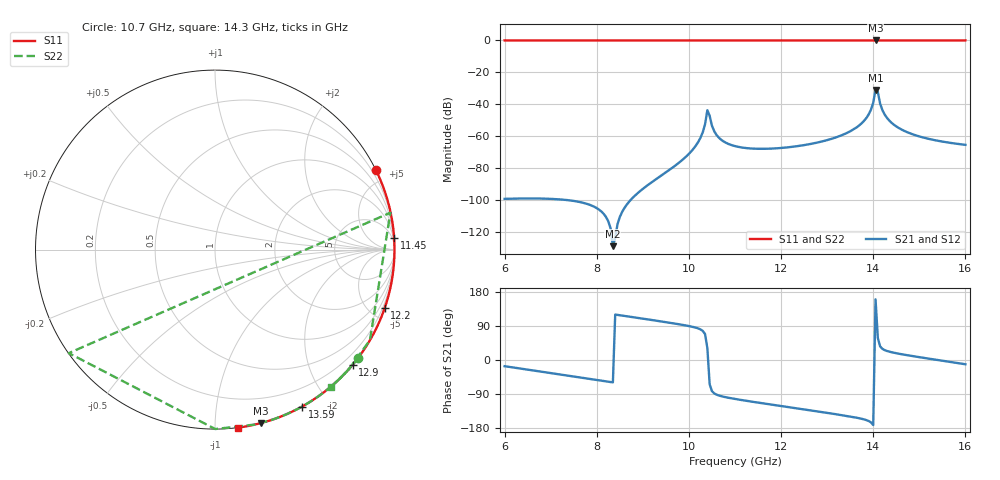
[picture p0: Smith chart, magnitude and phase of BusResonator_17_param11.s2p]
! Sonnet Data File
! From: emgraph Version : 16.54
! From Project: BusResonator_17
! Data is De-embedded
! Data File Written: 08/31/2017 18:33:07
!< HDATE 08/31/2017 16:58:22
!< MDATE 08/31/2017 17:03:00
!< PARAMS
!< BusLengthControl = 5100.0
!< END PARAMS
# GHZ S MA R 50.00000
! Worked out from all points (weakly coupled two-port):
!   798 points, 6 GHz to 16 GHz, reference 50 ohm
!   highest |S21| = -31.00 dB at 14.05 GHz (marker M1); lowest = -129.0 dB at 8.35 GHz (marker M2)
!   lowest |S11| = 0.0 dB at 14.05 GHz (marker M3)
!   |S11| at or under -10 dB: nowhere
!   |S22| runs from 0.0 to 0.0 dB; largest |S21 - S12| = 0
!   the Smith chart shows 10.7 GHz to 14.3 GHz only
!   S11 on the Smith chart (normalised r, x): 10.7 GHz: 0.00, +4.30; 11.45 GHz: 0, +31; 12.2 GHz: 0.00, -6.02; 12.9 GHz: 0.00, -2.75; 13.59 GHz: 0.00, -1.70; 14.3 GHz: 0.00, -1.13
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6  1 173.0  1.081e-05 -16.4  1.081e-05 -16.4  1 -25.7
!< P1 F=6.0 Eeff=(6.44857038 -2.9736e-5) Z0=(51.7893065 1.19468e-4) R=0.05083541 C=0.00240605
!< P2 F=6.0 Eeff=(6.44857038 -2.9736e-5) Z0=(51.7893065 1.19468e-4) R=0.05083541 C=0.00240605
7.7  1 118.6  8.162e-06 -47.4  8.162e-06 -47.4  1 -33.3
8.35  1 98.2  3.552e-07 -59.1  3.552e-07 -59.1  1 -36.4
9.35  1 67.2  5.171e-05 102.7  5.171e-05 102.7  1 -41.9
9.85  1 51.9  0.0001759 92.9  0.0001759 92.9  1 -46.0
10.2  1 41.3  0.0006506 83.4  0.0006506 83.4  1 -54.5
10.25  1 39.8  0.0008851 80.8  0.0008851 80.8  1 -58.1
10.4  1 35.3  0.006497 31.3  0.006497 31.3  0.9989 -152.5
10.7  1 26.2  0.0007719 -95.4  0.0007719 -95.4  1 -37.1
11  1 17.2  0.0004868 -102.8  0.0004868 -102.8  1 -42.8
11.45  1 3.7  0.0004028 -111.5  0.0004028 -111.5  1 -46.6
12.2  1 -18.9  0.0004548 -125.0  0.0004548 -125.0  1 -51.2
12.7  1 -33.9  0.0005919 -134.0  0.0005919 -134.0  1 -54.1
12.9  1 -40.0  0.0006879 -137.7  0.0006879 -137.7  1 -55.4
13.59109  1 -61.0  0.00169 -151.2  0.00169 -151.2  1 -61.4
13.88123  1 -69.9  0.004309 -160.0  0.004309 -160.0  1 -70.0
13.9  1 -70.5  0.00478 -160.9  0.00478 -160.9  0.9999 -71.4
14.05  0.9996 -75.1  0.02819 160.1  0.02819 160.1  0.9982 -144.7
14.3  1 -82.8  0.003709 23.8  0.003709 23.8  1 -49.7
14.35  1 -84.3  0.003059 22.0  0.003059 22.0  1 -51.8
14.9  1 -101.4  0.001086 9.4  0.001086 9.4  1 -59.8
16  1 -136.2  0.0005338 -11.2  0.0005338 -11.2  1 -66.3
